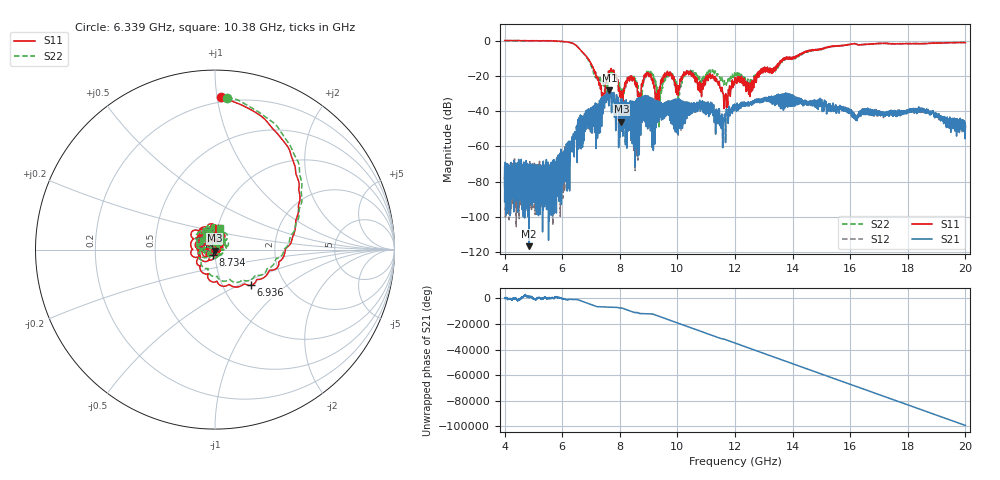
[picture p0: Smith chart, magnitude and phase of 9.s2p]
[Version] 2.0
! Rohde & Schwarz Vector Network Analyzer
! Rohde-Schwarz,ZNL20-2Port,1323001220200009,1.71.1.10-23.02.1.238
! Port Assignments:
! Nominal Port -> Actual Test Port
!  1 -> 1
!  2 -> 2
! Created: GMT+2 2025-01-16 20:23:25
# Hz S RI R 50
[Number of Ports] 2
[Two-Port Data Order] 21_12
! freq[Hz]  S11[Re]  S11[Im]  S21[Re]  S21[Im]  S12[Re]  S12[Im]  S22[Re]  S22[Im]
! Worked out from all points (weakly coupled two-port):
!   16001 points, 4 GHz to 20 GHz, reference 50 ohm
!   highest |S21| = -28.32 dB at 7.642 GHz (marker M1); lowest = -116.6 dB at 4.843 GHz (marker M2)
!   lowest |S11| = -45.9 dB at 8.053 GHz (marker M3), VSWR 1.01, Z = 50 - j0.504 ohm
!   |S11| at or under -10 dB: 6.889 GHz to 13.7 GHz (6.812 GHz wide, 66.2 % of centre); 13.71508 GHz to 13.74358 GHz (28.5 MHz wide, 0.208 % of centre); 13.94346 GHz to 13.96739 GHz (23.94 MHz wide, 0.172 % of centre) (the widest 3 of 9)
!   |S22| runs from -52.3 to 0.0 dB; largest |S21 - S12| = 0.0029
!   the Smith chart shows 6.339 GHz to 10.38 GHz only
!   S11 on the Smith chart (normalised r, x): 6.339 GHz: 0.17, +1.03; 6.936 GHz: 1.36, -0.59; 8.734 GHz: 0.97, -0.05; 10.38 GHz: 1.00, +0.24
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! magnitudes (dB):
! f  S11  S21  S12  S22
! 4 GHz  0.0  -71.7  -78.9  -0.2
! 4.843 GHz  0.0  -116.6  -86.1  -0.2
! 5.765 GHz  -0.3  -85.6  -77.6  -0.5
! 6.339 GHz  -1.4  -57.2  -57.4  -1.4
! 6.667 GHz  -5.9  -47.5  -47.2  -6.0
! 6.936 GHz  -11.0  -47.7  -48.0  -11.8
! 7.404 GHz  -30.0  -34.4  -34.4  -22.3
! 7.642 GHz  -17.3  -28.3  -28.3  -19.9
! 8.053 GHz  -45.9  -49.8  -49.6  -31.9
! 8.428 GHz  -22.9  -41.3  -41.6  -21.7
! 8.734 GHz  -30.3  -35.9  -35.7  -35.5
! 9.003 GHz  -20.3  -33.6  -33.7  -18.9
! 9.334 GHz  -28.2  -34.4  -34.3  -31.5
! 9.585 GHz  -20.6  -38.7  -38.5  -22.0
! 10.05 GHz  -25.6  -33.2  -33.2  -27.7
! 10.38 GHz  -18.5  -38.1  -38.3  -18.3
! 11.25 GHz  -21.4  -37.4  -37.3  -17.5
! 11.68 GHz  -30.2  -51.1  -51.6  -23.2
! 12 GHz  -20.9  -37.8  -37.8  -18.4
! 14.67 GHz  -5.5  -34.5  -34.5  -5.8
! 17.33 GHz  -1.8  -41.1  -40.2  -1.8
! 20 GHz  -1.2  -48.6  -50.2  -1.1
